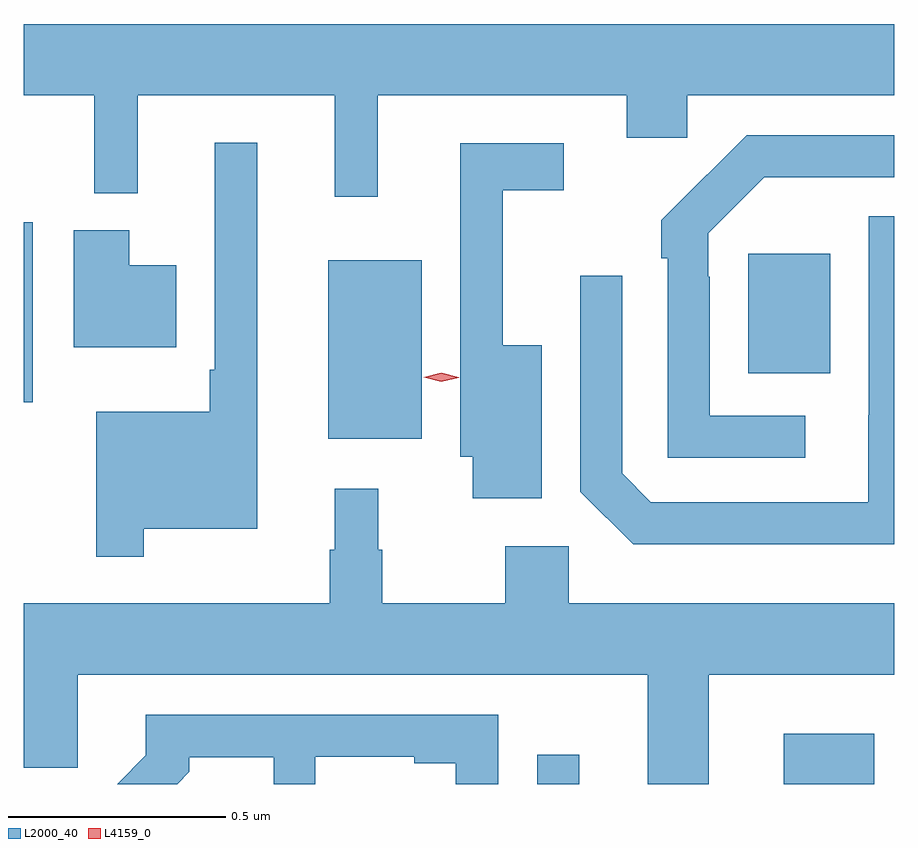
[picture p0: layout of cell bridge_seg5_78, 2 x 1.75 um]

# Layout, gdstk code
import gdstk
lib = gdstk.Library(unit=1e-6, precision=1e-09)
def R(c, l, rs):  # rectangles x0, y0, x1, y1
    for r in rs: c.add(gdstk.rectangle(r[:2], r[2:], *l))
def P(c, l, *ps):  # polygons
    for p in ps: c.add(gdstk.Polygon(p, *l))
L2000_40 = (2000, 40)
L4159_0 = (4159, 0)

bridge_seg5_78 = lib.new_cell('bridge_seg5_78')
R(bridge_seg5_78, L2000_40, [(133.566,884.481,133.662,884.548), (134.132,884.481,134.34,884.596), (133.085,885.275,133.3,885.685), (132.386,885.359,132.406,885.772), (134.051,885.425,134.239,885.7)])
P(bridge_seg5_78, L2000_40, [(133.199,886.064),(133.772,886.064),(133.772,885.966),(133.911,885.966),(133.911,886.064),(134.386,886.064),(134.386,886.228),(132.386,886.228),(132.386,886.064),(132.548,886.064),(132.548,885.839),(132.647,885.839),(132.647,886.064),(133.1,886.064),(133.1,885.831),(133.199,885.831)],
  [(134.182,885.327),(133.962,885.327),(133.962,885.647),(133.959,885.647),(133.959,885.747),(134.088,885.876),(134.386,885.876),(134.386,885.972),(134.048,885.972),(133.957,885.881),(133.956,885.882),(133.851,885.777),(133.851,885.689),(133.866,885.689),(133.866,885.231),(134.182,885.231)],
  [(132.661,885.068),(132.922,885.068),(132.922,885.955),(132.825,885.955),(132.825,885.433),(132.813,885.433),(132.813,885.337),(132.552,885.337),(132.552,885.003),(132.661,885.003)],
  [(133.576,885.49),(133.487,885.49),(133.487,885.846),(133.627,885.846),(133.627,885.954),(133.389,885.954),(133.389,885.233),(133.418,885.233),(133.418,885.138),(133.576,885.138)],
  [(134.386,885.786),(134.328,885.786),(134.328,885.329),(134.327,885.329),(134.327,885.129),(133.827,885.129),(133.761,885.195),(133.761,885.649),(133.665,885.649),(133.665,885.153),(133.786,885.032),(134.386,885.032)],
  [(132.736,885.673),(132.628,885.673),(132.628,885.754),(132.5,885.754),(132.5,885.485),(132.736,885.485)],
  [(133.96,884.732),(134.386,884.732),(134.386,884.896),(133.638,884.896),(133.638,885.028),(133.492,885.028),(133.492,884.896),(133.21,884.896),(133.21,885.02),(133.2,885.02),(133.2,885.16),(133.1,885.16),(133.1,885.02),(133.089,885.02),(133.089,884.896),(132.386,884.896),(132.386,884.518),(132.51,884.518),(132.51,884.732),(133.82,884.732),(133.82,884.481),(133.96,884.481)],
  [(132.766,884.509),(132.766,884.543),(132.96,884.543),(132.96,884.481),(133.056,884.481),(133.056,884.544),(133.283,884.544),(133.283,884.529),(133.379,884.529),(133.379,884.481),(133.476,884.481),(133.476,884.64),(132.666,884.64),(132.666,884.547),(132.6,884.481),(132.738,884.481)])
P(bridge_seg5_78, L4159_0, [(133.345,885.406),(133.305,885.416),(133.305,885.416),(133.305,885.416),(133.345,885.426),(133.385,885.416),(133.385,885.415),(133.385,885.415)])

lib.write_gds('bridge_seg5_78.gds')
